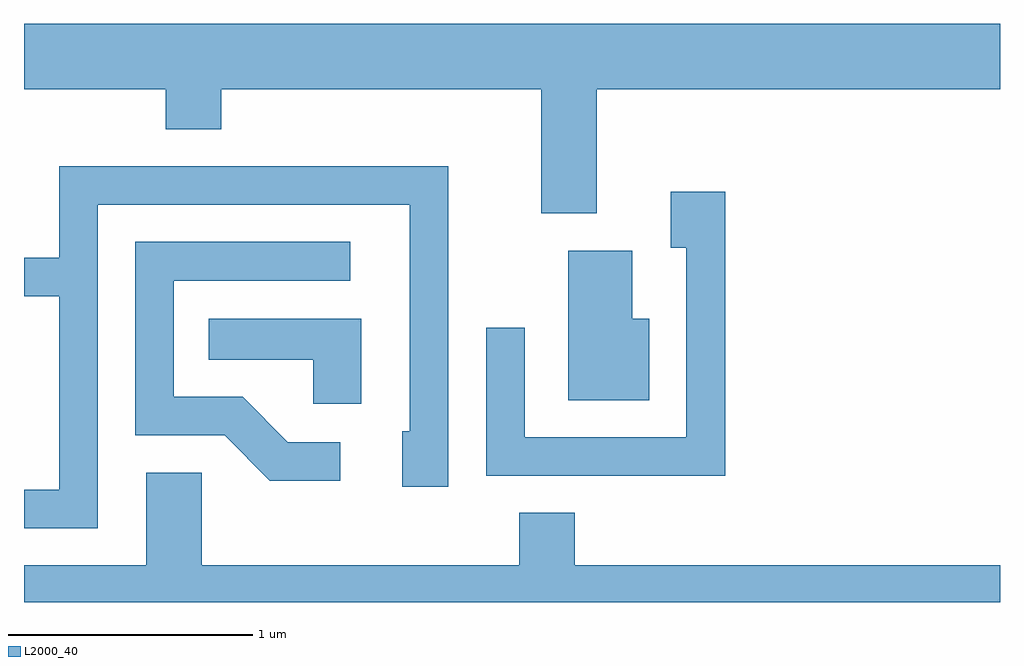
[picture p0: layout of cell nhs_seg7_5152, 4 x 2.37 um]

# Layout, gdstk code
import gdstk
lib = gdstk.Library(unit=1e-6, precision=1e-09)
def P(c, l, *ps):  # polygons
    for p in ps: c.add(gdstk.Polygon(p, *l))
L2000_40 = (2000, 40)

nhs_seg7_5152 = lib.new_cell('nhs_seg7_5152')
P(nhs_seg7_5152, L2000_40, [(345.959,1674.356),(347.611,1674.356),(347.611,1674.624),(343.611,1674.624),(343.611,1674.356),(344.191,1674.356),(344.191,1674.191),(344.419,1674.191),(344.419,1674.356),(345.731,1674.356),(345.731,1673.846),(345.959,1673.846)],
  [(343.914,1673.881),(345.191,1673.881),(345.191,1672.954),(345.161,1672.954),(345.161,1672.726),(345.349,1672.726),(345.349,1674.039),(343.756,1674.039),(343.756,1673.664),(343.611,1673.664),(343.611,1673.506),(343.756,1673.506),(343.756,1672.714),(343.611,1672.714),(343.611,1672.556),(343.914,1672.556)],
  [(346.484,1673.934),(346.261,1673.934),(346.261,1673.706),(346.326,1673.706),(346.326,1672.929),(345.664,1672.929),(345.664,1673.378),(345.506,1673.378),(345.506,1672.771),(346.484,1672.771)],
  [(344.908,1672.909),(344.692,1672.909),(344.507,1673.094),(344.224,1673.094),(344.224,1673.571),(344.948,1673.571),(344.948,1673.729),(344.066,1673.729),(344.066,1672.936),(344.434,1672.936),(344.619,1672.751),(344.908,1672.751)],
  [(346.174,1673.414),(346.104,1673.414),(346.104,1673.694),(345.841,1673.694),(345.841,1673.081),(346.174,1673.081)],
  [(344.994,1673.414),(344.368,1673.414),(344.368,1673.246),(344.796,1673.246),(344.796,1673.066),(344.994,1673.066)],
  [(347.611,1672.404),(345.869,1672.404),(345.869,1672.619),(345.641,1672.619),(345.641,1672.404),(344.339,1672.404),(344.339,1672.784),(344.111,1672.784),(344.111,1672.404),(343.611,1672.404),(343.611,1672.252),(347.611,1672.252)])

lib.write_gds('nhs_seg7_5152.gds')
